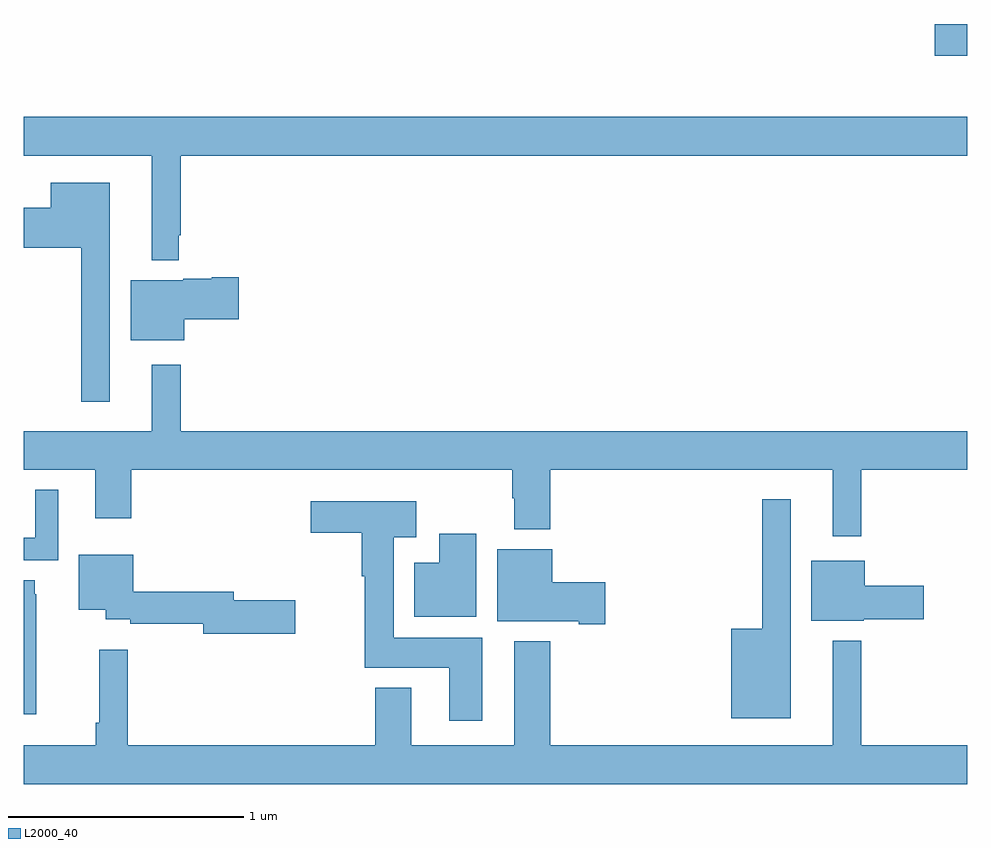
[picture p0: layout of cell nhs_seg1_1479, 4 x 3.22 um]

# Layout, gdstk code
import gdstk
lib = gdstk.Library(unit=1e-6, precision=1e-09)
def R(c, l, rs):  # rectangles x0, y0, x1, y1
    for r in rs: c.add(gdstk.rectangle(r[:2], r[2:], *l))
def P(c, l, *ps):  # polygons
    for p in ps: c.add(gdstk.Polygon(p, *l))
L2000_40 = (2000, 40)

nhs_seg1_1479 = lib.new_cell('nhs_seg1_1479')
R(nhs_seg1_1479, L2000_40, [(194.862,565.475,195,565.61)])
P(nhs_seg1_1479, L2000_40, [(191.657,564.715),(191.665,564.715),(191.665,565.052),(195,565.052),(195,565.216),(191,565.216),(191,565.052),(191.543,565.052),(191.543,564.608),(191.657,564.608)],
  [(191.365,564.937),(191.114,564.937),(191.114,564.832),(191,564.832),(191,564.662),(191.244,564.662),(191.244,564.009),(191.365,564.009)],
  [(191.68,564.358),(191.911,564.358),(191.911,564.536),(191.798,564.536),(191.798,564.529),(191.676,564.529),(191.676,564.523),(191.453,564.523),(191.453,564.269),(191.68,564.269)],
  [(194.551,563.72),(195,563.72),(195,563.884),(191.665,563.884),(191.665,564.166),(191.543,564.166),(191.543,563.884),(191,563.884),(191,563.72),(191.303,563.72),(191.303,563.514),(191.456,563.514),(191.456,563.72),(193.072,563.72),(193.072,563.6),(193.079,563.6),(193.079,563.468),(193.232,563.468),(193.232,563.72),(194.429,563.72),(194.429,563.439),(194.551,563.439)],
  [(191.146,563.635),(191.048,563.635),(191.048,563.433),(191,563.433),(191,563.337),(191.146,563.337)],
  [(194.251,563.596),(194.13,563.596),(194.13,563.047),(194,563.047),(194,562.667),(194.251,562.667)],
  [(192.943,563.008),(192.568,563.008),(192.568,563.435),(192.664,563.435),(192.664,563.587),(192.216,563.587),(192.216,563.453),(192.434,563.453),(192.434,563.269),(192.446,563.269),(192.446,562.88),(192.803,562.88),(192.803,562.656),(192.943,562.656)],
  [(192.919,563.449),(192.761,563.449),(192.761,563.326),(192.656,563.326),(192.656,563.096),(192.919,563.096)],
  [(193.465,563.244),(193.24,563.244),(193.24,563.383),(193.007,563.383),(193.007,563.078),(193.352,563.078),(193.352,563.066),(193.465,563.066)],
  [(192.151,563.168),(191.89,563.168),(191.89,563.204),(191.464,563.204),(191.464,563.359),(191.234,563.359),(191.234,563.126),(191.348,563.126),(191.348,563.087),(191.452,563.087),(191.452,563.068),(191.762,563.068),(191.762,563.026),(192.151,563.026)],
  [(194.562,563.087),(194.815,563.087),(194.815,563.229),(194.566,563.229),(194.566,563.335),(194.339,563.335),(194.339,563.081),(194.562,563.081)],
  [(191.053,563.193),(191.047,563.193),(191.047,563.252),(191,563.252),(191,562.683),(191.053,562.683)],
  [(195,562.552),(194.551,562.552),(194.551,562.996),(194.429,562.996),(194.429,562.552),(193.232,562.552),(193.232,562.993),(193.079,562.993),(193.079,562.552),(192.643,562.552),(192.643,562.795),(192.491,562.795),(192.491,562.552),(191.441,562.552),(191.441,562.957),(191.32,562.957),(191.32,562.648),(191.305,562.648),(191.305,562.552),(191,562.552),(191,562.388),(195,562.388)])

lib.write_gds('nhs_seg1_1479.gds')
